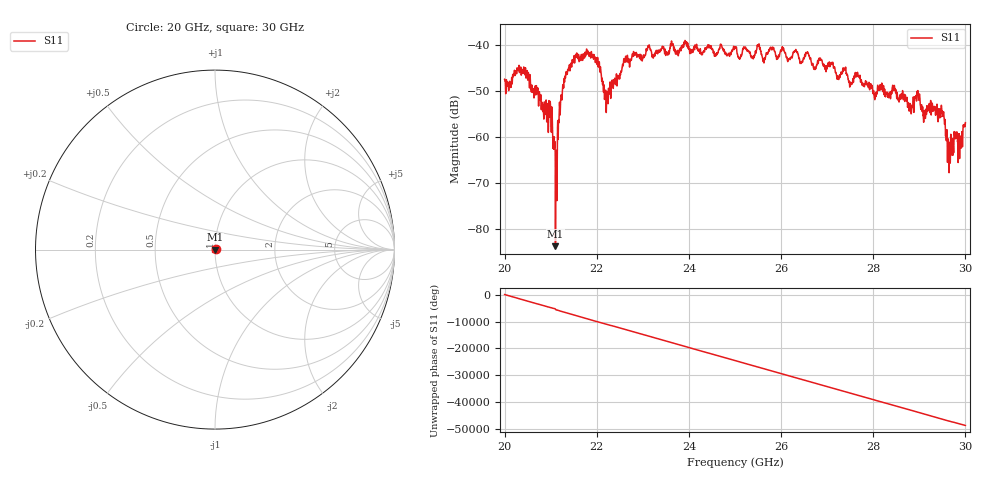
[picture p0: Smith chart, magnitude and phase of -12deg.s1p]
#  HZ  S  RI  R  50.00
! Rohde & Schwarz ZVA40 4Ports - Version 3.90 - 1145.1110k42 SN: 100403
! Date: 2023-10-03 12:34:21
! Measurement: S12
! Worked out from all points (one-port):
!   5001 points, 20 GHz to 30 GHz, reference 50 ohm
!   lowest |S11| = -83.6 dB at 21.1 GHz (marker M1), VSWR 1.00, Z = 50 - j0.00304 ohm
!   |S11| at or under -10 dB: start of sweep to end of sweep
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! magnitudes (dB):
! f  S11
! 20 GHz  -47.5
! 20.48 GHz  -47.0
! 20.98 GHz  -53.7
! 21.1 GHz  -83.6
! 21.25 GHz  -50.6
! 21.52 GHz  -43.8
! 21.79 GHz  -41.9
! 22.03 GHz  -44.9
! 22.21 GHz  -52.1
! 22.5 GHz  -46.9
! 22.63 GHz  -42.5
! 23.12 GHz  -40.5
! 23.75 GHz  -41.8
! 23.93 GHz  -39.8
! 25 GHz  -40.7
! 26.25 GHz  -42.4
! 27.38 GHz  -45.2
! 27.5 GHz  -48.1
! 27.65 GHz  -46.7
! 28.04 GHz  -51.9
! 28.45 GHz  -48.9
! 28.75 GHz  -52.8
! 28.96 GHz  -50.6
! 29.11 GHz  -54.4
! 29.49 GHz  -54.6
! 29.66 GHz  -61.2
! 29.89 GHz  -59.8
! 30 GHz  -56.9
